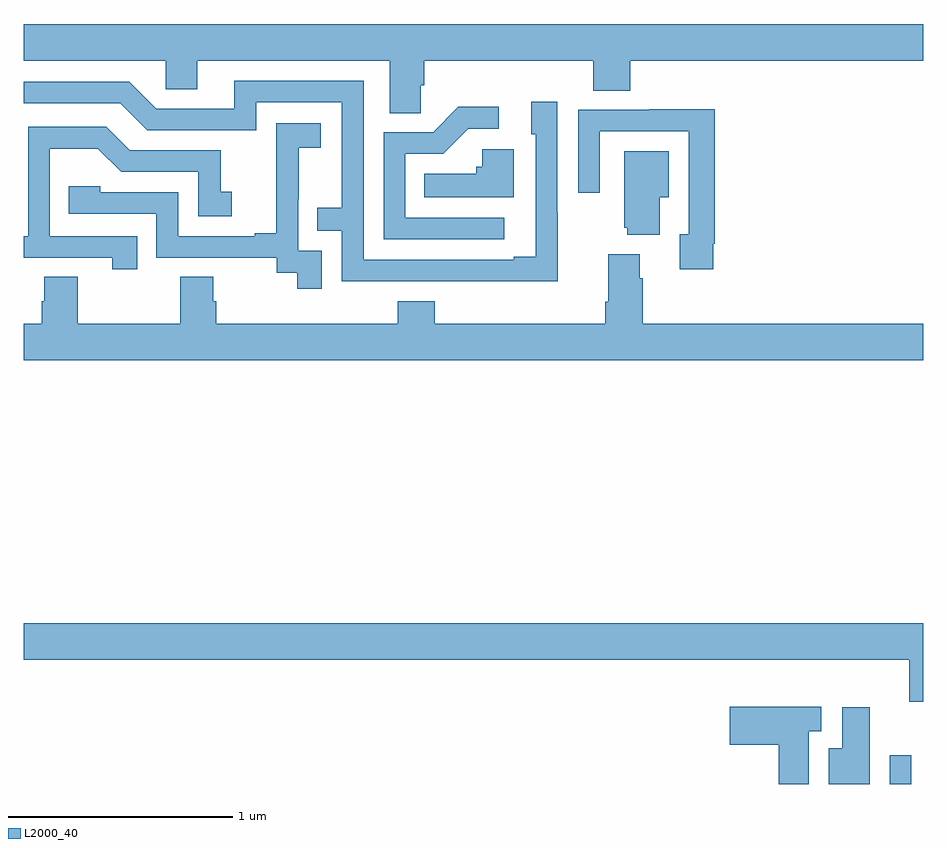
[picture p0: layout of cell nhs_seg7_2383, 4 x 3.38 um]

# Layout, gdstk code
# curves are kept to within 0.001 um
import gdstk
lib = gdstk.Library(unit=1e-6, precision=1e-09)
def R(c, l, rs):  # rectangles x0, y0, x1, y1
    for r in rs: c.add(gdstk.rectangle(r[:2], r[2:], *l))
def P(c, l, *ps):  # polygons
    for p in ps: c.add(gdstk.Polygon(p, *l))
L2000_40 = (2000, 40)

nhs_seg7_2383 = lib.new_cell('nhs_seg7_2383')
R(nhs_seg7_2383, L2000_40, [(268.851,1064,268.947,1064.128)])
P(nhs_seg7_2383, L2000_40, [(266.766,1067.107),(266.78,1067.107),(266.78,1067.216),(267.533,1067.216),(267.533,1067.083),(267.698,1067.083),(267.698,1067.216),(269,1067.216),(269,1067.38),(265,1067.38),(265,1067.216),(265.632,1067.216),(265.632,1067.089),(265.771,1067.089),(265.771,1067.216),(266.627,1067.216),(266.627,1066.984),(266.766,1066.984)],
  [(267.375,1066.541),(267.372,1066.541),(267.372,1067.035),(267.257,1067.035),(267.257,1066.89),(267.276,1066.89),(267.276,1066.345),(267.179,1066.345),(267.179,1066.332),(266.511,1066.332),(266.511,1067.127),(265.937,1067.127),(265.937,1067.004),(265.59,1067.004),(265.47,1067.124),(265,1067.124),(265,1067.028),(265.428,1067.028),(265.548,1066.908),(266.034,1066.908),(266.034,1067.031),(266.415,1067.031),(266.415,1066.562),(266.305,1066.562),(266.305,1066.461),(266.415,1066.461),(266.415,1066.236),(267.375,1066.235)],
  [(267.136,1066.518),(266.697,1066.518),(266.697,1066.803),(266.866,1066.803),(266.977,1066.914),(267.112,1066.914),(267.112,1067.012),(266.933,1067.012),(266.82,1066.899),(266.601,1066.899),(266.601,1066.422),(267.136,1066.422)],
  [(268.066,1066.402),(268.073,1066.402),(268.073,1067),(267.781,1067),(267.781,1066.998),(267.465,1066.998),(267.465,1066.629),(267.561,1066.629),(267.561,1066.902),(267.957,1066.902),(267.957,1066.446),(267.917,1066.446),(267.917,1066.29),(268.066,1066.29)],
  [(266.325,1066.371),(266.22,1066.371),(266.22,1066.601),(266.222,1066.601),(266.222,1066.829),(266.32,1066.829),(266.32,1066.939),(266.122,1066.939),(266.122,1066.733),(266.123,1066.733),(266.123,1066.45),(266.027,1066.45),(266.027,1066.437),(265.686,1066.437),(265.686,1066.632),(265.341,1066.632),(265.341,1066.659),(265.201,1066.659),(265.201,1066.536),(265.59,1066.536),(265.59,1066.341),(266.124,1066.341),(266.124,1066.273),(266.217,1066.273),(266.217,1066.203),(266.325,1066.203)],
  [(265.505,1066.437),(265.116,1066.437),(265.116,1066.826),(265.33,1066.826),(265.434,1066.722),(265.776,1066.722),(265.776,1066.524),(265.924,1066.524),(265.924,1066.633),(265.875,1066.633),(265.875,1066.818),(265.471,1066.818),(265.366,1066.923),(265.02,1066.923),(265.02,1066.437),(265,1066.437),(265,1066.341),(265.394,1066.341),(265.394,1066.29),(265.505,1066.29)],
  [(267.178,1066.822),(267.039,1066.822),(267.039,1066.746),(267.013,1066.746),(267.013,1066.714),(266.782,1066.714),(266.782,1066.61),(267.178,1066.61)],
  [(267.829,1066.61),(267.868,1066.61),(267.868,1066.813),(267.671,1066.813),(267.671,1066.473),(267.683,1066.473),(267.683,1066.442),(267.829,1066.442)],
  [(269,1066.048),(267.752,1066.048),(267.752,1066.25),(267.739,1066.25),(267.739,1066.357),(267.599,1066.357),(267.599,1066.144),(267.587,1066.144),(267.587,1066.048),(266.828,1066.048),(266.828,1066.147),(266.663,1066.147),(266.663,1066.048),(265.856,1066.048),(265.856,1066.146),(265.843,1066.146),(265.843,1066.256),(265.696,1066.256),(265.696,1066.048),(265.239,1066.048),(265.239,1066.256),(265.091,1066.256),(265.091,1066.146),(265.079,1066.146),(265.079,1066.048),(265,1066.048),(265,1065.884),(269,1065.884)],
  [(269,1064.716),(265,1064.716),(265,1064.552),(268.937,1064.552),(268.937,1064.365),(269,1064.365)],
  [(268.492,1064.235),(268.546,1064.235),(268.546,1064.343),(268.14,1064.343),(268.14,1064.174),(268.358,1064.174),(268.358,1064),(268.492,1064)],
  [(268.762,1064.341),(268.64,1064.341),(268.64,1064.158),(268.58,1064.158),(268.58,1064),(268.762,1064)])

lib.write_gds('nhs_seg7_2383.gds')
